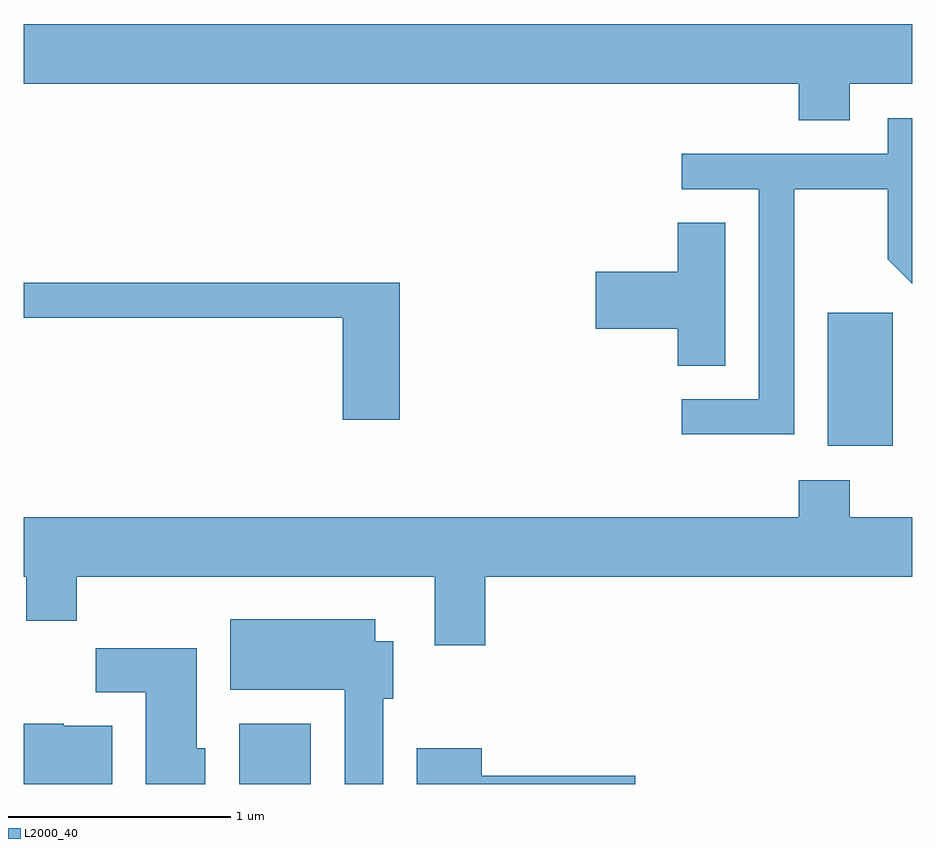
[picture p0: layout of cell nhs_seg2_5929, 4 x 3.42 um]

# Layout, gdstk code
import gdstk
lib = gdstk.Library(unit=1e-6, precision=1e-09)
def R(c, l, rs):  # rectangles x0, y0, x1, y1
    for r in rs: c.add(gdstk.rectangle(r[:2], r[2:], *l))
def P(c, l, *ps):  # polygons
    for p in ps: c.add(gdstk.Polygon(p, *l))
L2000_40 = (2000, 40)

nhs_seg2_5929 = lib.new_cell('nhs_seg2_5929')
R(nhs_seg2_5929, L2000_40, [(360.581,1071.802,360.904,1072.074), (363.231,1073.326,363.524,1073.924)])
P(nhs_seg2_5929, L2000_40, [(363.329,1074.956),(363.611,1074.956),(363.611,1075.224),(359.611,1075.224),(359.611,1074.956),(363.101,1074.956),(363.101,1074.791),(363.329,1074.791)],
  [(363.079,1074.481),(363.501,1074.481),(363.501,1074.164),(363.611,1074.054),(363.611,1074.799),(363.501,1074.799),(363.501,1074.639),(362.573,1074.639),(362.573,1074.481),(362.921,1074.481),(362.921,1073.534),(362.573,1073.534),(362.573,1073.376),(363.079,1073.376)],
  [(362.769,1074.329),(362.556,1074.329),(362.556,1074.109),(362.186,1074.109),(362.186,1073.851),(362.556,1073.851),(362.556,1073.686),(362.769,1073.686)],
  [(361.304,1074.059),(359.611,1074.059),(359.611,1073.901),(361.046,1073.901),(361.046,1073.441),(361.304,1073.441)],
  [(363.101,1073.169),(363.101,1073.004),(359.611,1073.004),(359.611,1072.736),(359.621,1072.736),(359.621,1072.536),(359.849,1072.536),(359.849,1072.736),(361.461,1072.736),(361.461,1072.426),(361.689,1072.426),(361.689,1072.736),(363.611,1072.736),(363.611,1073.004),(363.329,1073.004),(363.329,1073.169)],
  [(361.229,1072.186),(361.274,1072.186),(361.274,1072.444),(361.194,1072.444),(361.194,1072.544),(360.541,1072.544),(360.541,1072.226),(361.056,1072.226),(361.056,1071.802),(361.229,1071.802)],
  [(360.429,1071.964),(360.389,1071.964),(360.389,1072.414),(359.936,1072.414),(359.936,1072.216),(360.161,1072.216),(360.161,1071.802),(360.429,1071.802)],
  [(360.009,1072.064),(359.79,1072.064),(359.79,1072.074),(359.611,1072.074),(359.611,1071.802),(360.009,1071.802)],
  [(362.364,1071.839),(361.674,1071.839),(361.674,1071.964),(361.381,1071.964),(361.381,1071.802),(362.364,1071.802)])

lib.write_gds('nhs_seg2_5929.gds')
